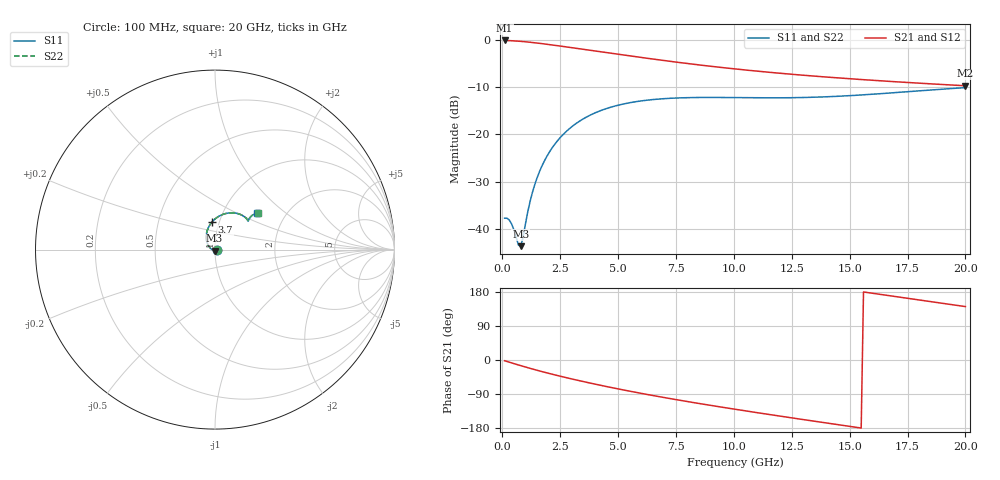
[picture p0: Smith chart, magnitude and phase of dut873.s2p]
! Touchstone file exported from HFSS 2024.1.0
!  File:  C:/UserFiles/LocalFiles/RDL_TSV_Batchsim/temp_RDL_TSV_873_1779928238.aedt
!  Generated:  08:44:21 AM May 28, 2026
!  Design:  RDL_TSV
!  Project:  temp_RDL_TSV_873_1779928238
!  Setup:  Setup1
!  Solution:  Sweep
! Variables:
!  dtsv = 10.91um
!  hbump = 3um
!  htsv = 78.41um
!  ldown = 509.76um
!  lrdl = 400.71um
!  p = 40
!  p1 = 48.89um
!  rhole = 10um
!  subl = 3132.12um
!  t = 450um
!  tdown = 3.29um
!  trdl = 4.48um
!  viad = 10um
!  wdown = 29.48um
!  wrdl = 19.09um
!  xbump = 18um
# GHz S MA R 50.000000
! Terminal data exported
! Port[1] = TM1_1_T1
! Port[2] = TM1_4_T1
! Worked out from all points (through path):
!   200 points, 100 MHz to 20 GHz, reference 50 ohm
!   highest |S21| = -0.12 dB at 100 MHz (marker M1); lowest = -9.7 dB at 20 GHz (marker M2)
!   group delay of S21, straight-line fit = 28.7 ps
!   lowest |S11| = -43.7 dB at 800 MHz (marker M3), VSWR 1.01, Z = 49.8 - j0.605 ohm
!   |S11| at or under -10 dB: start of sweep to end of sweep
!   |S22| runs from -43.7 to -10.1 dB; largest |S21 - S12| = 8.2e-15
!   S11 on the Smith chart (normalised r, x): 100 MHz: 1.03, -0.00; 3.7 GHz: 0.92, +0.29; 20 GHz: 1.45, +0.65
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0.1  0.01294 -3.0  0.9864 -2.0  0.9864 -2.0  0.01294 -3.0
! Gamma 0 0 0 0
! Port Impedance 50 0 50 0
0.3  0.01238 -15.6  0.9824 -5.8  0.9824 -5.8  0.01238 -15.6
0.4  0.01128 -24.7  0.9797 -7.7  0.9797 -7.7  0.01127 -24.7
0.7  0.006696 -77.8  0.9693 -13.2  0.9693 -13.2  0.006683 -78.0
0.8  0.00654 -111.6  0.965 -15.0  0.965 -15.0  0.006538 -111.8
0.9  0.008199 -142.3  0.9603 -16.8  0.9603 -16.8  0.008213 -142.5
1.1  0.01509 -176.1  0.95 -20.3  0.95 -20.3  0.01513 -176.2
1.3  0.0242 167.1  0.9387 -23.8  0.9387 -23.8  0.02427 167.0
1.5  0.03449 155.9  0.9265 -27.1  0.9265 -27.1  0.03457 155.8
1.8  0.05122 143.2  0.9073 -32.0  0.9073 -32.0  0.05133 143.2
2.1  0.06873 133.1  0.8874 -36.7  0.8874 -36.7  0.06888 133.1
2.5  0.09222 121.8  0.8606 -42.8  0.8606 -42.8  0.0924 121.7
3.5  0.146 99.6  0.7952 -57.0  0.7952 -57.0  0.1462 99.6
3.7  0.1554 95.9  0.7826 -59.7  0.7826 -59.7  0.1556 95.9
5  0.2033 76.3  0.7051 -76.3  0.7051 -76.3  0.2037 76.3
6.8  0.2368 58.1  0.613 -97.0  0.613 -97.0  0.2372 58.1
8.4  0.2455 48.2  0.5468 -113.8  0.5468 -113.8  0.2458 48.2
10.1  0.2449 42.5  0.4912 -130.4  0.4912 -130.4  0.2453 42.6
11.7  0.2435 40.7  0.4499 -145.4  0.4499 -145.4  0.2439 40.8
13.4  0.2468 41.0  0.4148 -160.8  0.4148 -160.8  0.2474 41.1
16.7  0.2734 42.6  0.3639 169.8  0.3639 169.8  0.2743 42.7
20  0.3122 40.7  0.3268 141.0  0.3268 141.0  0.3137 40.9
